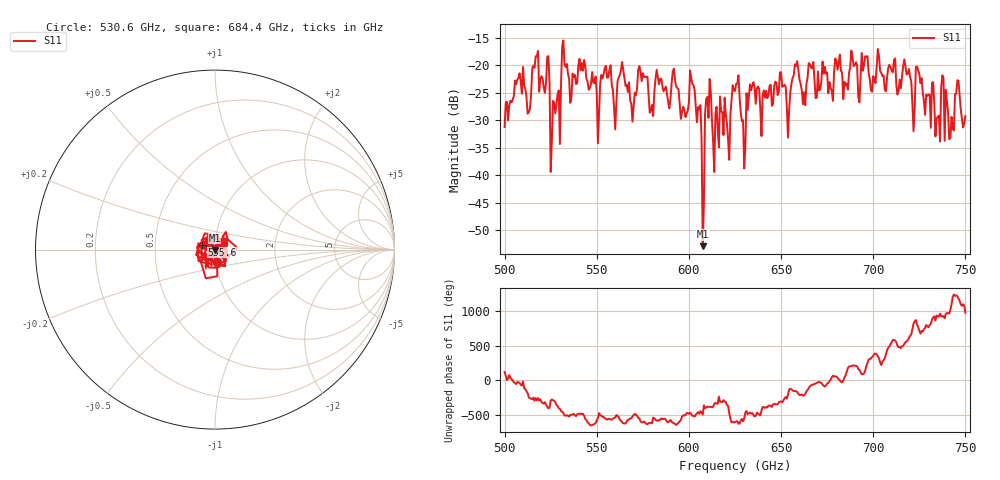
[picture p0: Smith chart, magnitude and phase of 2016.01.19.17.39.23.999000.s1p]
!Created with skrf (http://scikit-rf.org).
# GHz S RI R 50.0
!freq ReS11 ImS11
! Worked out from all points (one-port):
!   401 points, 500 GHz to 750 GHz, reference 50 ohm
!   lowest |S11| = -52.9 dB at 607.5 GHz (marker M1), VSWR 1.00, Z = 49.9 - j0.173 ohm
!   |S11| at or under -10 dB: start of sweep to end of sweep
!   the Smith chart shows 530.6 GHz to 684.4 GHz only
!   S11 on the Smith chart (normalised r, x): 530.6 GHz: 1.01, -0.14; 555.6 GHz: 0.86, +0.05; 684.4 GHz: 1.10, +0.11
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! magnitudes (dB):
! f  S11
! 500 GHz  -31.2
! 506.9 GHz  -22.6
! 513.1 GHz  -28.5
! 516.9 GHz  -18.4
! 523.1 GHz  -18.5
! 526.2 GHz  -26.5
! 530.6 GHz  -23.2
! 531.2 GHz  -16.5
! 550.6 GHz  -34.2
! 555.6 GHz  -22.3
! 559.4 GHz  -27.7
! 562.5 GHz  -21.8
! 593.8 GHz  -24.2
! 601.9 GHz  -23.5
! 607.5 GHz  -52.9
! 610.6 GHz  -29.6
! 621.2 GHz  -33.6
! 625 GHz  -24.7
! 629.4 GHz  -30.0
! 634.4 GHz  -23.6
! 656.2 GHz  -22.3
! 684.4 GHz  -23.0
! 687.5 GHz  -20.4
! 718.8 GHz  -21.5
! 735 GHz  -29.4
! 742.5 GHz  -29.4
! 745.6 GHz  -22.7
! 750 GHz  -29.2
